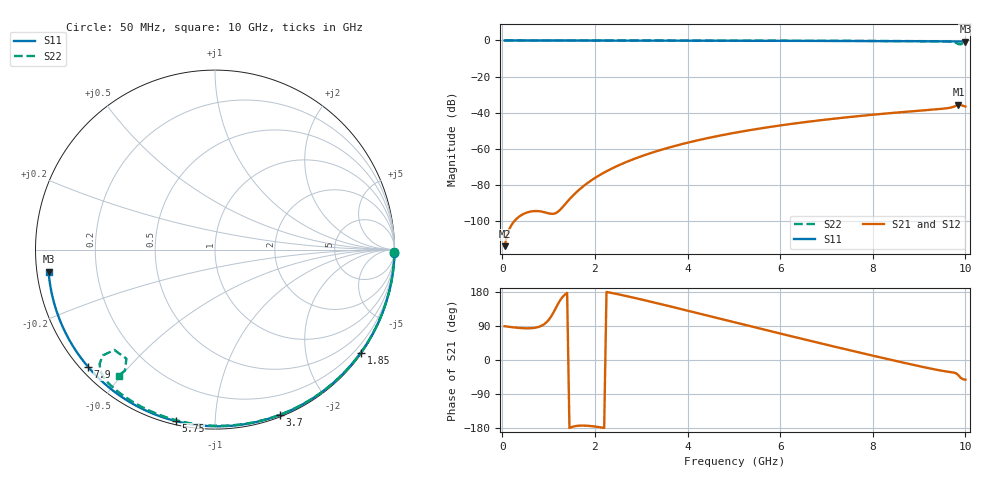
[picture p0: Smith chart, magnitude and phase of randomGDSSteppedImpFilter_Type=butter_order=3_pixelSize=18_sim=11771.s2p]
! freq	dB(S11)	phase(S11)	dB(S12)	phase(S12)
!  dB(S21)	phase(S21)	dB(S22)	phase(S22)
!S-par simulation data
#  GHz  S  DB  R 50
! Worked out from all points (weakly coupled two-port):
!   200 points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, 50 MHz to 10 GHz, reference 50 ohm
!   highest |S21| = -35.59 dB at 9.85 GHz (marker M1); lowest = -113.9 dB at 50 MHz (marker M2)
!   lowest |S11| = -0.6 dB at 10 GHz (marker M3), VSWR 29.95, Z = 1.68 - j3.31 ohm
!   |S11| at or under -10 dB: nowhere
!   |S22| runs from -2.1 to 0.0 dB; largest |S21 - S12| = 0
!   S11 on the Smith chart (normalised r, x): 50 MHz: open; 1.85 GHz: 0.03, -3.15; 3.7 GHz: 0.02, -1.47; 5.75 GHz: 0.02, -0.80; 7.9 GHz: 0.02, -0.39; 10 GHz: 0.03, -0.07
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0.05  -0.00 -1.0  -113.90 89.1  -113.90 89.1  -0.00 -0.8
0.85  -0.02 -16.4  -94.75 90.6  -94.75 90.6  -0.02 -13.0
1.75  -0.04 -33.4  -80.71 -173.1  -80.71 -173.1  -0.03 -26.5
1.85  -0.04 -35.2  -78.76 -173.6  -78.76 -173.6  -0.04 -27.9
2.15  -0.05 -40.8  -73.84 -178.3  -73.84 -178.3  -0.04 -32.4
2.5  -0.06 -47.2  -69.29 173.5  -69.29 173.5  -0.05 -37.5
2.9  -0.07 -54.4  -65.07 162.6  -65.07 162.6  -0.06 -43.2
3.4  -0.08 -63.3  -60.79 148.2  -60.79 148.2  -0.07 -50.4
3.7  -0.09 -68.6  -58.59 139.2  -58.59 139.2  -0.07 -54.6
4.35  -0.11 -79.7  -54.54 119.6  -54.54 119.6  -0.09 -63.5
5.05  -0.14 -91.5  -50.97 98.4  -50.97 98.4  -0.11 -72.9
5.75  -0.17 -102.9  -48.01 77.4  -48.01 77.4  -0.14 -82.0
6.7  -0.23 -118.2  -44.69 49.1  -44.69 49.1  -0.18 -94.0
7.9  -0.33 -137.3  -41.36 14.3  -41.36 14.3  -0.26 -108.7
8.35  -0.37 -144.5  -40.30 1.6  -40.30 1.6  -0.29 -114.1
9.5  -0.51 -163.7  -37.82 -28.6  -37.82 -28.6  -0.44 -129.2
9.75  -0.54 -168.0  -36.70 -33.2  -36.70 -33.2  -0.88 -135.3
9.8  -0.55 -168.9  -36.15 -35.2  -36.15 -35.2  -1.31 -136.7
9.85  -0.56 -169.8  -35.59 -40.3  -35.59 -40.3  -2.02 -135.1
9.9  -0.57 -170.6  -35.67 -47.3  -35.67 -47.3  -2.13 -129.1
9.95  -0.57 -171.5  -36.20 -50.9  -36.20 -50.9  -1.51 -126.7
10  -0.58 -172.4  -36.57 -51.9  -36.57 -51.9  -1.08 -127.4
